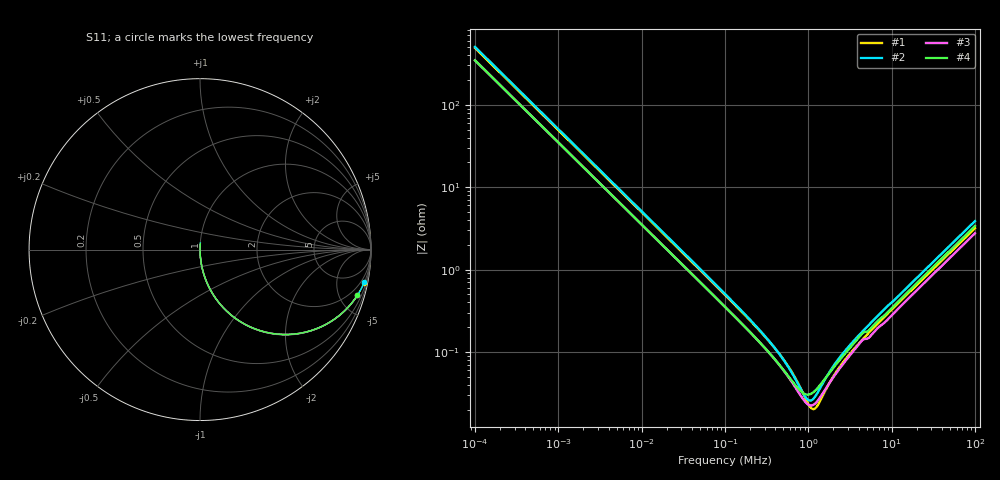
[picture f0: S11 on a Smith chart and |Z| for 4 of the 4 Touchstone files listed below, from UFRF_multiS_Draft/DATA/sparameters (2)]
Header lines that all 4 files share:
!These Parameters are Measured in Series Mode Connection
!  o--ll--o
!Port1  Port2
!  o------o
!Operation Temp=25[degC], DC Bias Voltage=0[V]
!Freq. Start=100[Hz] Stop=100[MHz], 401[Steps]
# Hz S RI R 50
!Freq.(Hz) S11(Real) S11(Imag) S21(Real) S21(Imag) S12(Real) S12(Imag) S22(Real) S22(Imag)
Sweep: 100 Hz to 100 MHz
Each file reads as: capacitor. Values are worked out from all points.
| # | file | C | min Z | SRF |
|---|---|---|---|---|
| 1 | RHEL81H335K3DBH03A_DC0V_25degC_series.s2p | 3.26 uF | 20.3 mohm | 1.163 MHz |
| 2 | RHEL81H335K3K1H03B_DC0V_25degC_series.s2p | 3.16 uF | 25.8 mohm | 1.063 MHz |
| 3 | RHEL81H475K3A2H03B_DC0V_25degC_series.s2p | 4.6 uF | 22.5 mohm | 1.079 MHz |
| 4 | RHEL81H475K3K1H03B_DC0V_25degC_series.s2p | 4.6 uF | 30.4 mohm | 983.3 kHz |
